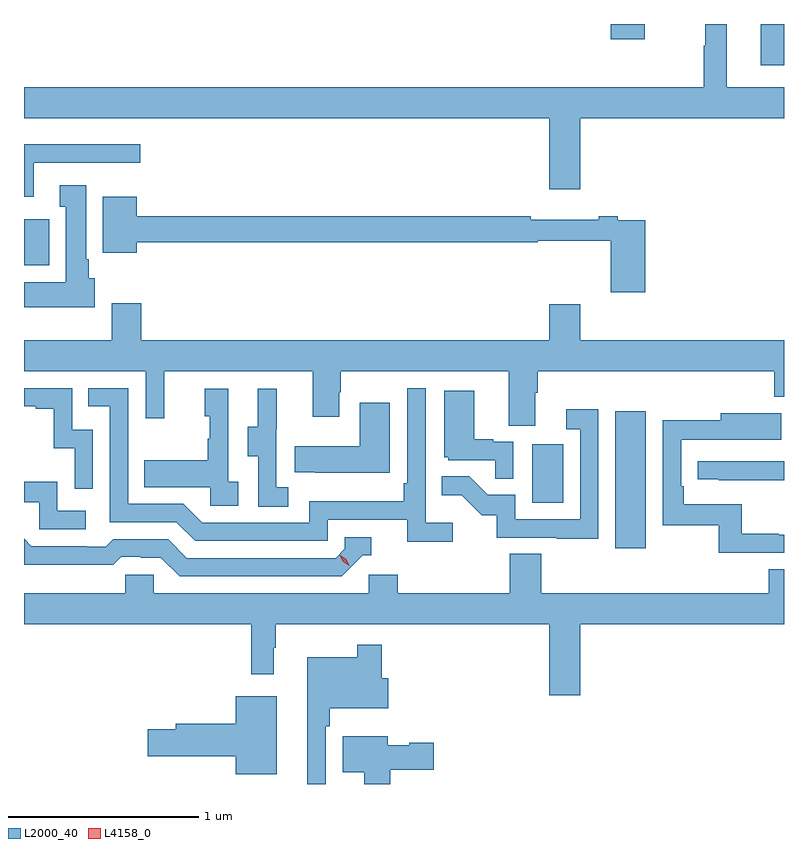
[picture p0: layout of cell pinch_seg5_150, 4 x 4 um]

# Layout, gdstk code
import gdstk
lib = gdstk.Library(unit=1e-6, precision=1e-09)
def R(c, l, rs):  # rectangles x0, y0, x1, y1
    for r in rs: c.add(gdstk.rectangle(r[:2], r[2:], *l))
def P(c, l, *ps):  # polygons
    for p in ps: c.add(gdstk.Polygon(p, *l))
L2000_40 = (2000, 40)
L4158_0 = (4158, 0)

pinch_seg5_150 = lib.new_cell('pinch_seg5_150')
R(pinch_seg5_150, L2000_40, [(1112.408,877.14,1112.569,877.861), (1111.97,877.38,1112.134,877.687), (1109.296,878.63,1109.428,878.872), (1113.173,879.683,1113.296,879.9), (1112.384,879.819,1112.562,879.9)])
P(pinch_seg5_150, L2000_40, [(1112.224,879.404),(1113.296,879.404),(1113.296,879.568),(1112.995,879.568),(1112.995,879.9),(1112.881,879.9),(1112.881,879.785),(1112.874,879.785),(1112.874,879.568),(1109.296,879.568),(1109.296,879.404),(1112.06,879.404),(1112.06,879.03),(1112.224,879.03)],
  [(1109.347,879.171),(1109.908,879.171),(1109.908,879.268),(1109.296,879.268),(1109.296,878.99),(1109.347,878.99)],
  [(1109.668,878.562),(1109.638,878.562),(1109.638,878.662),(1109.623,878.662),(1109.623,879.052),(1109.483,879.052),(1109.483,878.939),(1109.516,878.939),(1109.516,878.542),(1109.296,878.542),(1109.296,878.408),(1109.668,878.408)],
  [(1112.567,878.868),(1112.42,878.868),(1112.42,878.888),(1112.32,878.888),(1112.32,878.869),(1111.964,878.869),(1111.964,878.888),(1109.89,878.888),(1109.89,878.992),(1109.711,878.992),(1109.711,878.696),(1109.89,878.696),(1109.89,878.752),(1112,878.752),(1112,878.76),(1112.384,878.76),(1112.384,878.487),(1112.567,878.487)],
  [(1111.987,877.96),(1112,877.96),(1112,878.072),(1113.245,878.072),(1113.245,877.937),(1113.296,877.937),(1113.296,878.236),(1112.224,878.236),(1112.224,878.425),(1112.06,878.425),(1112.06,878.236),(1109.912,878.236),(1109.912,878.431),(1109.759,878.431),(1109.759,878.236),(1109.296,878.236),(1109.296,878.072),(1109.937,878.072),(1109.937,877.824),(1110.035,877.824),(1110.035,878.072),(1110.815,878.072),(1110.815,877.833),(1110.955,877.833),(1110.955,877.961),(1110.963,877.961),(1110.963,878.072),(1111.847,878.072),(1111.847,877.786),(1111.987,877.786)],
  [(1111.552,877.276),(1111.41,877.276),(1111.41,877.984),(1111.314,877.984),(1111.314,877.483),(1111.294,877.483),(1111.294,877.387),(1110.798,877.387),(1110.798,877.275),(1110.234,877.275),(1110.135,877.374),(1109.844,877.374),(1109.844,877.983),(1109.635,877.983),(1109.635,877.887),(1109.748,877.887),(1109.748,877.278),(1110.098,877.278),(1110.197,877.179),(1110.894,877.179),(1110.894,877.29),(1111.313,877.29),(1111.313,877.174),(1111.552,877.174)],
  [(1109.658,877.764),(1109.55,877.764),(1109.55,877.983),(1109.296,877.983),(1109.296,877.887),(1109.357,877.887),(1109.357,877.875),(1109.453,877.875),(1109.453,877.667),(1109.562,877.667),(1109.562,877.455),(1109.658,877.455)],
  [(1110.688,877.463),(1110.624,877.463),(1110.624,877.767),(1110.626,877.767),(1110.626,877.981),(1110.527,877.981),(1110.527,877.779),(1110.473,877.779),(1110.473,877.624),(1110.528,877.624),(1110.528,877.36),(1110.688,877.36)],
  [(1110.424,877.49),(1110.372,877.49),(1110.372,877.981),(1110.248,877.981),(1110.248,877.836),(1110.274,877.836),(1110.274,877.718),(1110.264,877.718),(1110.264,877.603),(1109.929,877.603),(1109.929,877.463),(1110.276,877.463),(1110.276,877.365),(1110.424,877.365)],
  [(1111.872,877.701),(1111.766,877.701),(1111.766,877.714),(1111.666,877.714),(1111.666,877.969),(1111.508,877.969),(1111.508,877.62),(1111.53,877.62),(1111.53,877.605),(1111.777,877.605),(1111.777,877.507),(1111.872,877.507)],
  [(1111.222,877.906),(1111.064,877.906),(1111.064,877.678),(1110.721,877.678),(1110.721,877.541),(1110.829,877.541),(1110.829,877.538),(1111.222,877.538)],
  [(1112.319,877.873),(1112.151,877.873),(1112.151,877.767),(1112.223,877.767),(1112.223,877.293),(1111.881,877.293),(1111.881,877.422),(1111.737,877.422),(1111.639,877.52),(1111.495,877.52),(1111.495,877.421),(1111.599,877.421),(1111.706,877.314),(1111.783,877.314),(1111.783,877.197),(1112.101,877.197),(1112.101,877.192),(1112.319,877.192)],
  [(1113.296,877.212),(1113.269,877.212),(1113.269,877.217),(1113.073,877.217),(1113.073,877.372),(1112.768,877.372),(1112.768,877.468),(1112.754,877.468),(1112.754,877.713),(1113.067,877.713),(1113.067,877.712),(1113.281,877.712),(1113.281,877.852),(1112.963,877.852),(1112.963,877.814),(1112.658,877.814),(1112.658,877.263),(1112.952,877.263),(1112.952,877.116),(1113.296,877.116)],
  [(1113.296,877.599),(1112.841,877.599),(1112.841,877.503),(1112.953,877.503),(1112.953,877.498),(1113.296,877.498)],
  [(1109.62,877.338),(1109.472,877.338),(1109.472,877.492),(1109.296,877.492),(1109.296,877.383),(1109.376,877.383),(1109.376,877.242),(1109.62,877.242)],
  [(1111.08,877.104),(1111.123,877.104),(1111.123,877.2),(1110.984,877.2),(1110.984,877.137),(1110.936,877.089),(1110.153,877.089),(1110.054,877.188),(1109.765,877.188),(1109.726,877.149),(1109.627,877.149),(1109.627,877.152),(1109.334,877.152),(1109.296,877.19),(1109.296,877.055),(1109.532,877.055),(1109.532,877.053),(1109.765,877.053),(1109.807,877.095),(1109.91,877.095),(1109.91,877.092),(1110.017,877.092),(1110.116,876.993),(1110.969,876.993)],
  [(1112.224,876.74),(1113.296,876.74),(1113.296,877.031),(1113.217,877.031),(1113.217,876.904),(1112.018,876.904),(1112.018,877.112),(1111.853,877.112),(1111.853,876.904),(1111.262,876.904),(1111.262,877.002),(1111.11,877.002),(1111.11,876.904),(1109.979,876.904),(1109.979,877.002),(1109.829,877.002),(1109.829,876.904),(1109.296,876.904),(1109.296,876.74),(1110.493,876.74),(1110.493,876.477),(1110.61,876.477),(1110.61,876.617),(1110.622,876.617),(1110.622,876.74),(1112.06,876.74),(1112.06,876.366),(1112.224,876.366)],
  [(1110.885,876.203),(1110.905,876.203),(1110.905,876.299),(1111.213,876.299),(1111.213,876.457),(1111.178,876.457),(1111.178,876.634),(1111.05,876.634),(1111.05,876.568),(1110.788,876.568),(1110.788,875.9),(1110.885,875.9)],
  [(1110.625,876.361),(1110.41,876.361),(1110.41,876.218),(1110.095,876.218),(1110.095,876.188),(1109.946,876.188),(1109.946,876.046),(1110.41,876.046),(1110.41,875.951),(1110.625,875.951)],
  [(1111.223,875.974),(1111.453,875.974),(1111.453,876.116),(1111.323,876.116),(1111.323,876.103),(1111.21,876.103),(1111.21,876.151),(1110.974,876.151),(1110.974,875.963),(1111.088,875.963),(1111.088,875.9),(1111.223,875.9)])
P(pinch_seg5_150, L4158_0, [(1111.007,877.05),(1110.976,877.07),(1110.959,877.103),(1110.959,877.103),(1110.96,877.103),(1110.991,877.083),(1111.007,877.05),(1111.007,877.05)])

lib.write_gds('pinch_seg5_150.gds')
